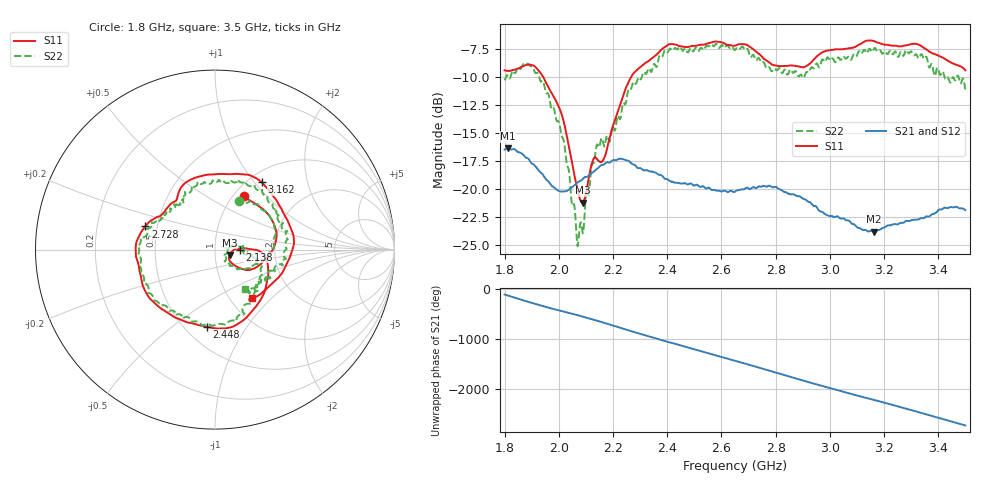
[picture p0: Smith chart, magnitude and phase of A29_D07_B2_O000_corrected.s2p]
! Created with skrf 1.9.0 (http://scikit-rf.org).
# Hz S RI R 50.0
!freq ReS11 ImS11 ReS21 ImS21 ReS12 ImS12 ReS22 ImS22
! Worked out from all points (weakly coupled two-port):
!   1601 points, 1.8 GHz to 3.5 GHz, reference 50 ohm
!   highest |S21| = -16.41 dB at 1.812 GHz (marker M1); lowest = -23.8 dB at 3.161 GHz (marker M2)
!   lowest |S11| = -21.3 dB at 2.088 GHz (marker M3), VSWR 1.19, Z = 58.7 - j3.62 ohm
!   |S11| at or under -10 dB: 1.942 GHz to 2.267 GHz (325.6 MHz wide, 15.5 % of centre)
!   |S22| runs from -25.1 to -7.1 dB; largest |S21 - S12| = 0.0028
!   S11 on the Smith chart (normalised r, x): 1.8 GHz: 1.12, +0.75; 2.138 GHz: 1.32, +0.00; 2.448 GHz: 0.63, -0.67; 2.728 GHz: 0.43, +0.13; 3.162 GHz: 1.15, +1.09; 3.5 GHz: 1.26, -0.76
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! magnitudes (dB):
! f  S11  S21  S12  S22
! 1.8 GHz  -9.4  -16.5  -16.5  -10.3
! 1.812 GHz  -9.5  -16.4  -16.4  -9.9
! 1.882 GHz  -8.9  -17.3  -17.3  -8.9
! 1.941 GHz  -10.0  -18.8  -18.8  -10.4
! 2.011 GHz  -13.4  -20.3  -20.2  -15.4
! 2.067 GHz  -19.9  -19.5  -19.5  -24.8
! 2.084 GHz  -21.2  -19.3  -19.2  -23.2
! 2.088 GHz  -21.3  -19.1  -19.2  -23.9
! 2.138 GHz  -17.3  -18.3  -18.3  -16.3
! 2.168 GHz  -17.3  -17.8  -17.8  -16.2
! 2.268 GHz  -10.0  -17.7  -17.7  -11.0
! 2.367 GHz  -7.9  -18.7  -18.7  -8.5
! 2.448 GHz  -7.3  -19.5  -19.5  -7.3
! 2.65 GHz  -7.2  -20.3  -20.2  -7.6
! 2.728 GHz  -7.8  -20.0  -20.0  -8.5
! 2.799 GHz  -9.0  -19.8  -19.8  -9.3
! 2.934 GHz  -8.7  -21.4  -21.4  -9.1
! 3.161 GHz  -6.8  -23.8  -23.8  -7.6
! 3.162 GHz  -6.8  -23.8  -23.8  -7.5
! 3.217 GHz  -7.2  -23.3  -23.3  -7.8
! 3.344 GHz  -7.4  -22.6  -22.6  -8.3
! 3.5 GHz  -9.4  -21.9  -21.9  -11.2
